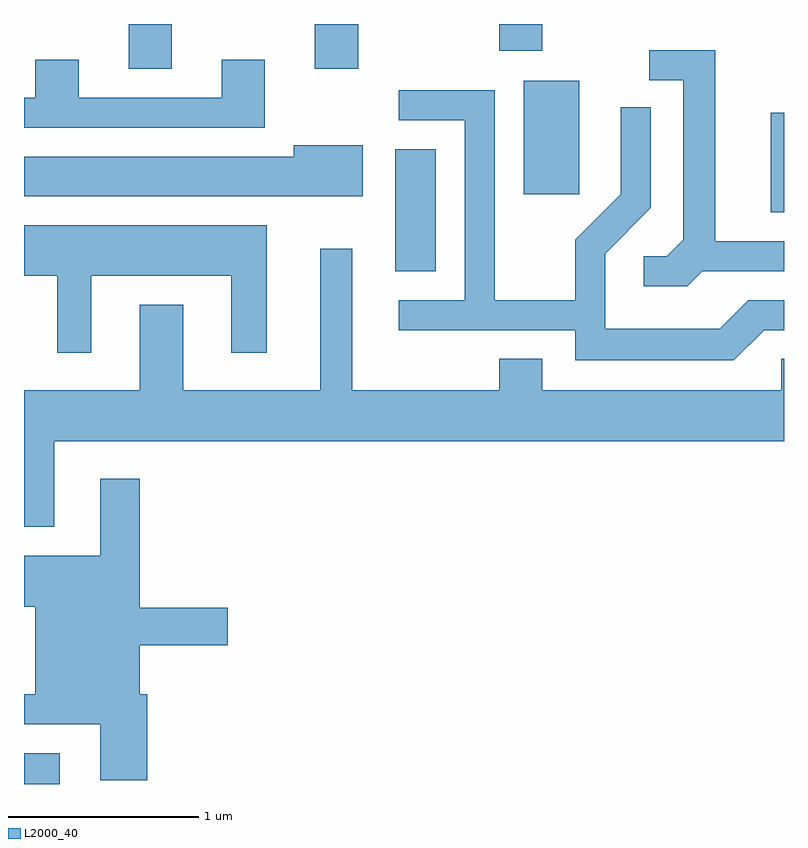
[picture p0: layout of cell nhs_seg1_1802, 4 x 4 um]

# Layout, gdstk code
import gdstk
lib = gdstk.Library(unit=1e-6, precision=1e-09)
def R(c, l, rs):  # rectangles x0, y0, x1, y1
    for r in rs: c.add(gdstk.rectangle(r[:2], r[2:], *l))
def P(c, l, *ps):  # polygons
    for p in ps: c.add(gdstk.Polygon(p, *l))
L2000_40 = (2000, 40)

nhs_seg1_1802 = lib.new_cell('nhs_seg1_1802')
R(nhs_seg1_1802, L2000_40, [(239.611,957.712,239.799,957.874), (241.566,960.411,241.779,961.054), (243.541,960.721,243.611,961.244), (242.241,960.816,242.534,961.414), (240.161,961.476,240.389,961.712), (241.141,961.476,241.369,961.712), (242.111,961.571,242.339,961.712)])
P(nhs_seg1_1802, L2000_40, [(243.182,960.411),(243.611,960.411),(243.611,960.569),(243.249,960.569),(243.249,961.574),(242.903,961.574),(242.903,961.416),(243.081,961.416),(243.081,960.577),(242.994,960.489),(242.873,960.489),(242.873,960.331),(243.102,960.331)],
  [(240.879,961.524),(240.651,961.524),(240.651,961.324),(239.899,961.324),(239.899,961.524),(239.671,961.524),(239.671,961.324),(239.611,961.324),(239.611,961.166),(240.879,961.166)],
  [(243.507,960.101),(243.611,960.101),(243.611,960.259),(243.424,960.259),(243.274,960.109),(242.669,960.109),(242.669,960.504),(242.909,960.744),(242.909,961.273),(242.751,961.273),(242.751,960.817),(242.511,960.577),(242.511,960.259),(242.089,960.259),(242.089,961.364),(241.583,961.364),(241.583,961.206),(241.931,961.206),(241.931,960.259),(241.583,960.259),(241.583,960.101),(242.511,960.101),(242.511,959.941),(243.347,959.941)],
  [(241.394,961.074),(241.031,961.074),(241.031,961.014),(239.611,961.014),(239.611,960.806),(241.394,960.806)],
  [(239.964,960.386),(240.701,960.386),(240.701,959.981),(240.889,959.981),(240.889,960.654),(239.611,960.654),(239.611,960.386),(239.786,960.386),(239.786,959.981),(239.964,959.981)],
  [(239.769,959.516),(243.611,959.516),(243.611,959.949),(243.596,959.949),(243.596,959.784),(242.339,959.784),(242.339,959.949),(242.111,959.949),(242.111,959.784),(241.339,959.784),(241.339,960.528),(241.171,960.528),(241.171,959.784),(240.449,959.784),(240.449,960.234),(240.221,960.234),(240.221,959.784),(239.611,959.784),(239.611,959.066),(239.769,959.066)],
  [(240.259,958.184),(240.219,958.184),(240.219,958.441),(240.684,958.441),(240.684,958.639),(240.219,958.639),(240.219,959.319),(240.011,959.319),(240.011,958.914),(239.611,958.914),(239.611,958.646),(239.671,958.646),(239.671,958.184),(239.611,958.184),(239.611,958.026),(240.011,958.026),(240.011,957.731),(240.259,957.731)])

lib.write_gds('nhs_seg1_1802.gds')
